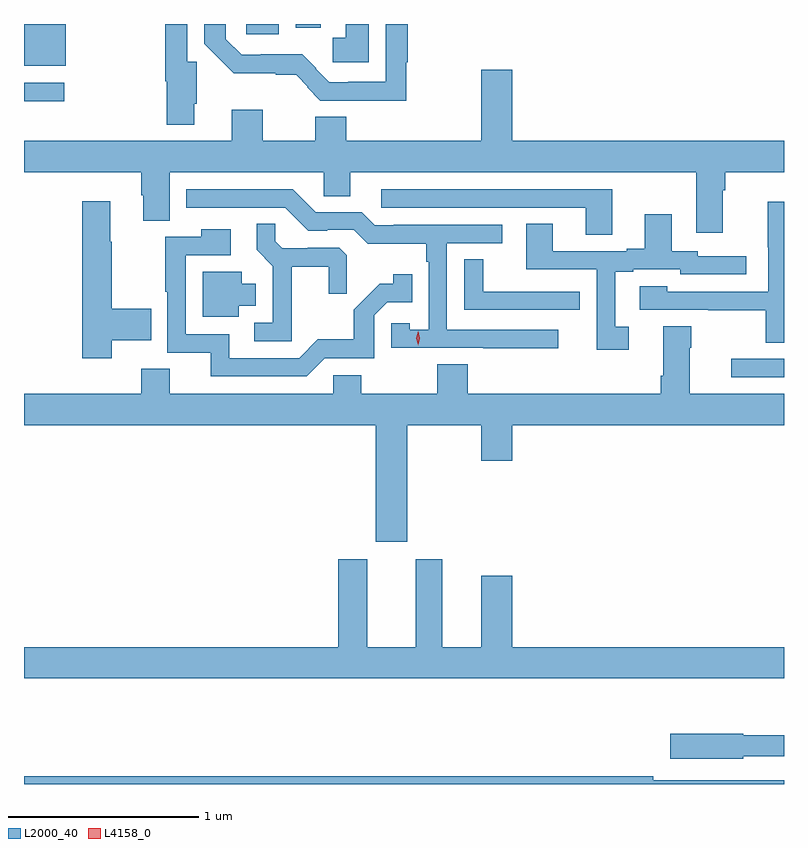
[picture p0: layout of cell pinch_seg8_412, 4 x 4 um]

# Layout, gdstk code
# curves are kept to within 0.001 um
import gdstk
lib = gdstk.Library(unit=1e-6, precision=1e-09)
def R(c, l, rs):  # rectangles x0, y0, x1, y1
    for r in rs: c.add(gdstk.rectangle(r[:2], r[2:], *l))
def P(c, l, *ps):  # polygons
    for p in ps: c.add(gdstk.Polygon(p, *l))
L2000_40 = (2000, 40)
L4158_0 = (4158, 0)

pinch_seg8_412 = lib.new_cell('pinch_seg8_412')
R(pinch_seg8_412, L2000_40, [(358.131,1160.709,358.409,1160.805), (354.409,1162.161,354.622,1162.257), (354.409,1162.346,354.628,1162.567), (355.578,1162.512,355.75,1162.567), (355.838,1162.548,355.972,1162.567)])
P(pinch_seg8_412, L2000_40, [(355.306,1162.147),(355.319,1162.147),(355.319,1162.368),(355.269,1162.368),(355.269,1162.567),(355.153,1162.567),(355.153,1162.265),(355.16,1162.265),(355.16,1162.037),(355.306,1162.037)],
  [(356.224,1162.567),(356.102,1162.567),(356.102,1162.495),(356.034,1162.495),(356.034,1162.366),(356.224,1162.366)],
  [(356.422,1162.367),(356.429,1162.367),(356.429,1162.567),(356.313,1162.567),(356.313,1162.264),(356.116,1162.264),(356.116,1162.26),(356.016,1162.26),(355.944,1162.332),(355.947,1162.335),(355.873,1162.409),(355.654,1162.409),(355.654,1162.404),(355.554,1162.404),(355.47,1162.488),(355.47,1162.567),(355.358,1162.567),(355.358,1162.464),(355.513,1162.307),(355.733,1162.307),(355.733,1162.299),(355.841,1162.299),(355.903,1162.237),(355.899,1162.233),(355.969,1162.163),(356.422,1162.163)],
  [(358.087,1161.692),(358.1,1161.692),(358.1,1161.788),(358.409,1161.788),(358.409,1161.952),(356.98,1161.952),(356.98,1162.327),(356.816,1162.327),(356.816,1161.952),(356.104,1161.952),(356.104,1162.078),(355.943,1162.078),(355.943,1161.952),(355.666,1161.952),(355.666,1162.117),(355.502,1162.117),(355.502,1161.952),(354.409,1161.952),(354.409,1161.788),(355.025,1161.788),(355.025,1161.666),(355.037,1161.666),(355.037,1161.532),(355.177,1161.532),(355.177,1161.788),(355.986,1161.788),(355.986,1161.661),(356.125,1161.661),(356.125,1161.788),(357.947,1161.788),(357.947,1161.468),(358.087,1161.468)],
  [(357.505,1161.696),(356.289,1161.696),(356.289,1161.6),(357.365,1161.6),(357.365,1161.457),(357.505,1161.457)],
  [(357.22,1160.958),(356.634,1160.958),(356.634,1161.414),(356.926,1161.414),(356.926,1161.51),(356.356,1161.51),(356.356,1161.507),(356.256,1161.507),(356.187,1161.576),(355.944,1161.576),(355.824,1161.696),(355.262,1161.696),(355.262,1161.6),(355.785,1161.6),(355.905,1161.48),(356.006,1161.48),(356.006,1161.483),(356.145,1161.483),(356.218,1161.41),(356.526,1161.41),(356.526,1161.317),(356.538,1161.317),(356.538,1160.959),(356.439,1160.959),(356.439,1160.991),(356.343,1160.991),(356.343,1160.862),(356.827,1160.862),(356.827,1160.86),(357.22,1160.86)],
  [(354.87,1160.903),(355.079,1160.903),(355.079,1161.069),(354.87,1161.069),(354.87,1161.421),(354.862,1161.421),(354.862,1161.634),(354.716,1161.634),(354.716,1160.808),(354.87,1160.808)],
  [(358.409,1161.631),(358.324,1161.631),(358.324,1161.392),(358.326,1161.392),(358.326,1161.159),(357.795,1161.159),(357.795,1161.187),(357.651,1161.187),(357.651,1161.063),(358.009,1161.063),(358.009,1161.061),(358.314,1161.061),(358.314,1160.89),(358.409,1160.89)],
  [(357.592,1160.973),(357.52,1160.973),(357.52,1161.264),(357.616,1161.264),(357.616,1161.276),(357.864,1161.276),(357.864,1161.249),(358.21,1161.249),(358.21,1161.345),(357.954,1161.345),(357.954,1161.372),(357.817,1161.372),(357.817,1161.565),(357.677,1161.565),(357.677,1161.385),(357.581,1161.385),(357.581,1161.372),(357.193,1161.372),(357.193,1161.515),(357.053,1161.515),(357.053,1161.276),(357.423,1161.276),(357.423,1160.853),(357.592,1160.853)],
  [(355.817,1161.29),(356.014,1161.29),(356.014,1161.147),(356.108,1161.147),(356.108,1161.349),(356.067,1161.39),(355.902,1161.39),(355.902,1161.387),(355.768,1161.387),(355.731,1161.424),(355.731,1161.515),(355.633,1161.515),(355.633,1161.379),(355.719,1161.293),(355.719,1160.994),(355.62,1160.994),(355.62,1160.898),(355.817,1160.898)],
  [(355.992,1160.808),(356.253,1160.808),(356.253,1161.033),(356.322,1161.102),(356.453,1161.102),(356.453,1161.25),(356.352,1161.25),(356.352,1161.2),(356.282,1161.2),(356.145,1161.062),(356.145,1160.907),(355.956,1160.907),(355.857,1160.808),(355.489,1160.808),(355.489,1160.934),(355.26,1160.934),(355.26,1161.351),(355.498,1161.351),(355.498,1161.487),(355.342,1161.487),(355.342,1161.447),(355.152,1161.447),(355.152,1161.157),(355.164,1161.157),(355.164,1160.838),(355.391,1160.838),(355.391,1160.712),(355.896,1160.712)],
  [(357.334,1161.158),(357.221,1161.158),(357.221,1161.159),(356.826,1161.159),(356.826,1161.329),(356.727,1161.329),(356.727,1161.063),(357.334,1161.063)],
  [(355.54,1161.083),(355.63,1161.083),(355.63,1161.199),(355.555,1161.199),(355.555,1161.262),(355.349,1161.262),(355.349,1161.026),(355.54,1161.026)],
  [(358.409,1160.62),(357.913,1160.62),(357.913,1160.864),(357.921,1160.864),(357.921,1160.977),(357.773,1160.977),(357.773,1160.716),(357.761,1160.716),(357.761,1160.62),(356.744,1160.62),(356.744,1160.777),(356.584,1160.777),(356.584,1160.62),(356.184,1160.62),(356.184,1160.718),(356.037,1160.718),(356.037,1160.62),(355.177,1160.62),(355.177,1160.753),(355.025,1160.753),(355.025,1160.62),(354.409,1160.62),(354.409,1160.456),(356.261,1160.456),(356.261,1159.842),(356.425,1159.842),(356.425,1160.456),(356.816,1160.456),(356.816,1160.268),(356.98,1160.268),(356.98,1160.456),(358.409,1160.456)],
  [(358.409,1159.288),(356.98,1159.288),(356.98,1159.663),(356.816,1159.663),(356.816,1159.288),(356.611,1159.288),(356.611,1159.75),(356.471,1159.75),(356.471,1159.288),(356.215,1159.288),(356.215,1159.75),(356.063,1159.75),(356.063,1159.288),(354.409,1159.288),(354.409,1159.124),(358.409,1159.124)],
  [(358.194,1158.714),(358.409,1158.714),(358.409,1158.823),(358.194,1158.823),(358.194,1158.831),(357.81,1158.831),(357.81,1158.701),(358.194,1158.701)],
  [(358.409,1158.588),(357.722,1158.588),(357.722,1158.608),(354.409,1158.608),(354.409,1158.567),(358.409,1158.567)])
P(pinch_seg8_412, L4158_0, [(356.483,1160.877),(356.483,1160.878),(356.473,1160.913),(356.483,1160.949),(356.483,1160.949),(356.483,1160.949),(356.493,1160.913),(356.483,1160.878)])

lib.write_gds('pinch_seg8_412.gds')
